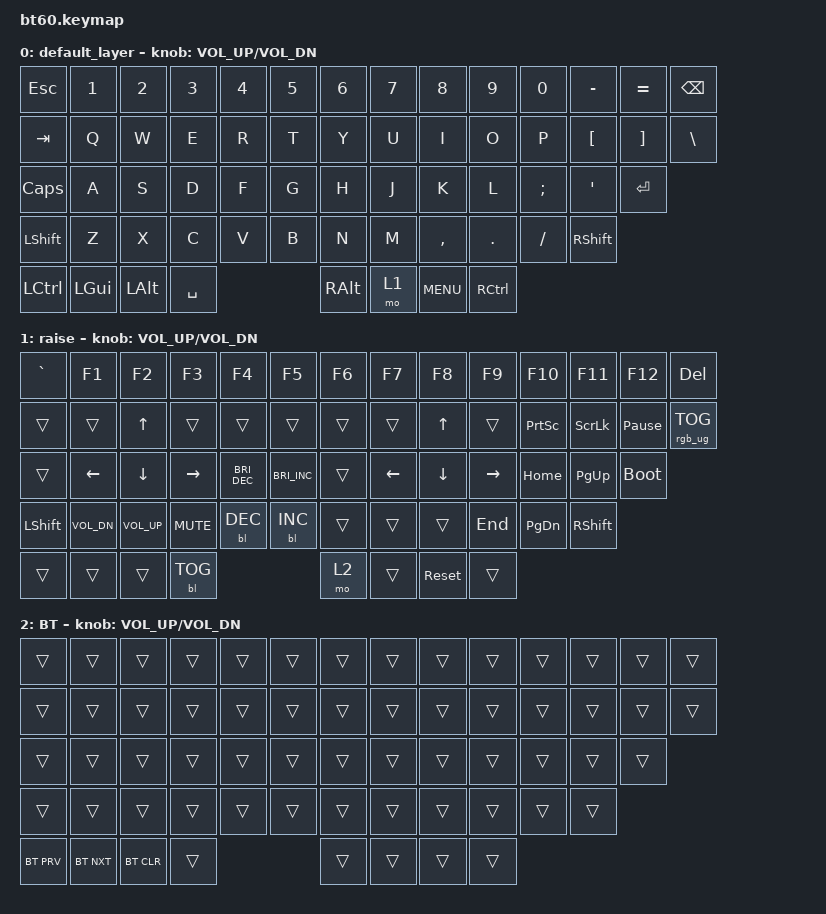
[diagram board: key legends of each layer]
#include <behaviors.dtsi>
#include <dt-bindings/zmk/keys.h>
#include <dt-bindings/zmk/bt.h>
#include <dt-bindings/zmk/rgb.h>
#include <dt-bindings/zmk/backlight.h>

&kscan0 {
    debounce-press-ms = <30>;
    debounce-release-ms = <3>;
};

/ {
	keymap {
		compatible = "zmk,keymap";
		default_layer {
				// ------------------------------------------------------------------------------------------
				// |  `  |  1  |  2  |  3  |  4  |  5  |  6  |  7  |  8  |  9  |  0  |  -  |  =  |   BKSP
				// | TAB  |  Q  |  W  |  E  |  R  |  T  |  Y  |  U  |  I  |  O  |  P  |  [  |  ]  |   |
				// | CAPS  |  A  |  S  |  D  |  F  |  G  |  H  |  J  |  K  |  L  |  ;  |  '  |     ENTER
				// |  SHIFT    |  Z  |  X  |  C  |  V  |  B  |  N  |  M  |  ,  |  .  | /   |      SHIFT
				// |  CTL  |  WIN  |  ALT  |            SPACE               | ALT | 1    |  MENU    |  CTRL
				// ------------------------------------------------------------------------------------------
			bindings = <
                &kp ESC &kp N1 &kp N2 &kp N3 &kp N4 &kp N5 &kp N6 &kp N7 &kp N8 &kp N9 &kp N0 &kp MINUS &kp EQUAL &kp BSPC
                &kp TAB &kp Q &kp W &kp E &kp R &kp T &kp Y &kp U &kp I &kp O &kp P &kp LBKT &kp RBKT &kp BSLH
                &kp CAPS &kp A &kp S &kp D &kp F &kp G &kp H &kp J &kp K &kp L &kp SEMI &kp SQT &kp RET
                &kp LSHFT &kp Z &kp X &kp C &kp V &kp B &kp N &kp M &kp COMMA &kp DOT &kp FSLH &kp RSHFT
                &kp LCTRL &kp LGUI &kp LALT &kp SPACE &kp RALT &mo 1 &kp C_MENU &kp RCTRL
			>;
			sensor-bindings = <&inc_dec_kp C_VOL_UP C_VOL_DN>;
		};
		raise {
			bindings = <
				&kp GRAVE &kp F1 &kp F2 &kp F3 &kp F4 &kp F5 &kp F6 &kp F7 &kp F8 &kp F9 &kp F10 &kp F11 &kp F12 &kp DEL
				&trans &trans &kp UP &trans &trans &trans &trans &trans &kp UP_ARROW &trans &kp PSCRN &kp SLCK &kp PAUSE_BREAK &rgb_ug RGB_TOG
				&trans &kp LEFT &kp DOWN &kp RIGHT &kp C_BRIGHTNESS_DEC &kp C_BRIGHTNESS_INC &trans &kp LEFT_ARROW &kp DOWN_ARROW &kp RIGHT_ARROW &kp HOME &kp PG_UP &bootloader
				&kp LEFT_SHIFT &kp C_VOL_DN &kp C_VOL_UP &kp C_MUTE &bl BL_DEC &bl BL_INC &trans &trans &trans &kp END &kp PG_DN &kp RSHIFT
				&trans &trans &trans &bl BL_TOG &mo 2 &trans &sys_reset &trans
			>;
			sensor-bindings = <&inc_dec_kp C_VOL_UP C_VOL_DN>;
		};
		BT {
			bindings = <
				&trans &trans &trans &trans &trans &trans &trans &trans &trans &trans &trans &trans &trans &trans
				&trans &trans &trans &trans &trans &trans &trans &trans &trans &trans &trans &trans &trans &trans
				&trans &trans &trans &trans &trans &trans &trans &trans &trans &trans &trans &trans &trans
				&trans &trans &trans &trans &trans &trans &trans &trans &trans &trans &trans &trans
				&bt BT_PRV &bt BT_NXT &bt BT_CLR &trans &trans &trans &trans &trans
			>;
			sensor-bindings = <&inc_dec_kp C_VOL_UP C_VOL_DN>;
		};
	};
};
